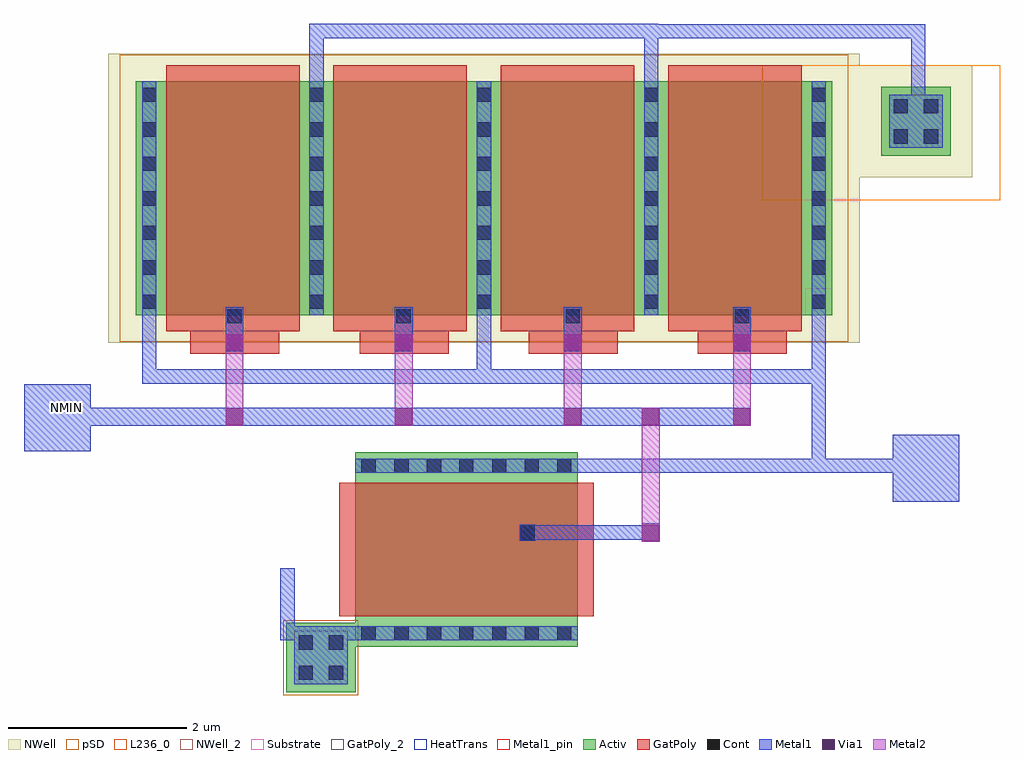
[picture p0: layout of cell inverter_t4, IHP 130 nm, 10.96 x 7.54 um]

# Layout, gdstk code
from math import pi, radians
import gdstk
lib = gdstk.Library(unit=1e-6, precision=1e-09)
def R(c, l, rs):  # rectangles x0, y0, x1, y1
    for r in rs: c.add(gdstk.rectangle(r[:2], r[2:], *l))
def A(c, l, x, y, w, h, nx, ny, dx, dy):  # array of equal rectangles
    R(c, l, [(x+i*dx, y+j*dy, x+i*dx+w, y+j*dy+h) for i in range(nx) for j in range(ny)])
Activ = (1, 0)
GatPoly = (5, 0)
GatPoly_2 = (5, 2)
Cont = (6, 0)
Metal1 = (8, 0)
Metal1_pin = (8, 2)
Metal2 = (10, 0)
pSD = (14, 0)
Via1 = (19, 0)
NWell = (31, 0)
NWell_2 = (31, 2)
Substrate = (40, 0)
HeatTrans = (51, 0)
L236_0 = (236, 0)

pmos_6 = lib.new_cell('pmos$6')
A(pmos_6, Activ, 0, 0, 0.3, 0.3, 5, 1, 1.88, 0)
R(pmos_6, Activ, [(0,0,7.82,2.625)])
A(pmos_6, GatPoly, 0.34, -0.18, 1.5, 2.985, 4, 1, 1.88, 0)
R(pmos_6, GatPoly, [(0.34,-0.18,1.84,2.805), (0.34,-0.18,1.84,2.805)])
A(pmos_6, Cont, 0.07, 0.07, 0.16, 0.16, 5, 2, 1.88, 0.385)
A(pmos_6, Cont, 0.07, 0.845, 0.16, 0.16, 5, 2, 1.88, 0.385)
A(pmos_6, Cont, 0.07, 1.62, 0.16, 0.16, 5, 2, 1.88, 0.385)
A(pmos_6, Cont, 0.07, 2.395, 0.16, 0.16, 5, 1, 1.88, 0)
A(pmos_6, Metal1, 1.95, 0, 0.16, 2.625, 4, 1, 1.88, 0)
R(pmos_6, Metal1, [(0.07,0,0.23,2.625), (0.07,0,0.23,2.625), (0.07,0,0.23,2.625), (1.95,0,2.11,2.625), (1.95,0,2.11,2.625)])
R(pmos_6, pSD, [(-0.18,-0.3,8,2.925)])
R(pmos_6, NWell, [(-0.31,-0.31,8.13,2.935)])
R(pmos_6, Substrate, [(7.52,0,7.82,0.3), (7.52,0,7.82,0.3)])
A(pmos_6, HeatTrans, 0.34, -0.18, 1.5, 2.985, 4, 1, 1.88, 0)
pmos_6.add(gdstk.Label('pmos', (1.09,1.313), layer=63, texttype=0))
pmos_6.add(gdstk.Label('pmos', (1.09,1.313), layer=51, texttype=0))
pmos_6.add(gdstk.Label('pmos', (2.97,1.313), layer=51, texttype=0))
pmos_6.add(gdstk.Label('pmos', (4.85,1.313), layer=51, texttype=0))
pmos_6.add(gdstk.Label('pmos', (6.73,1.313), layer=51, texttype=0))

nmos_3 = lib.new_cell('nmos$3')
R(nmos_3, Activ, [(0,0,2.18,2.5), (0,0,0.3,0.3), (1.88,0,2.18,0.3)])
R(nmos_3, GatPoly, [(0.34,-0.18,1.84,2.68)])
R(nmos_3, GatPoly_2, [(0.34,-0.18,1.84,2.68), (0.34,-0.18,1.84,2.68)])
A(nmos_3, Cont, 0.07, 0.07, 0.16, 0.16, 1, 3, 0, 0.365)
A(nmos_3, Cont, 1.95, 0.07, 0.16, 0.16, 1, 3, 0, 0.365)
A(nmos_3, Cont, 0.07, 1.17, 0.16, 0.16, 1, 3, 0, 0.365)
A(nmos_3, Cont, 1.95, 1.17, 0.16, 0.16, 1, 3, 0, 0.365)
R(nmos_3, Cont, [(0.07,2.27,0.23,2.43), (1.95,2.27,2.11,2.43)])
R(nmos_3, Metal1, [(0.07,0,0.23,2.5), (1.95,0,2.11,2.5)])
R(nmos_3, Metal1_pin, [(0.07,0,0.23,2.5), (0.07,0,0.23,2.5), (1.95,0,2.11,2.5), (1.95,0,2.11,2.5)])
R(nmos_3, HeatTrans, [(0.34,-0.18,1.84,2.68)])
nmos_3.add(gdstk.Label('nmos', (1.09,1.25), layer=51, texttype=0))

ptap_1 = lib.new_cell('ptap$1')
R(ptap_1, Activ, [(0,0,0.78,0.78)])
R(ptap_1, Cont, [(0.14,0.14,0.3,0.3), (0.48,0.14,0.64,0.3), (0.14,0.48,0.3,0.64), (0.48,0.48,0.64,0.64)])
R(ptap_1, Metal1, [(0.09,0.09,0.69,0.69)])
R(ptap_1, Metal1_pin, [(0.09,0.09,0.69,0.69)])
R(ptap_1, pSD, [(-0.03,-0.03,0.81,0.81)])

ntap_1 = lib.new_cell('ntap$1')
R(ntap_1, Activ, [(0,0,0.78,0.78)])
R(ntap_1, Cont, [(0.14,0.14,0.3,0.3), (0.48,0.14,0.64,0.3), (0.14,0.48,0.3,0.64), (0.48,0.48,0.64,0.64)])
R(ntap_1, Metal1, [(0.09,0.09,0.69,0.69)])
R(ntap_1, Metal1_pin, [(0.09,0.09,0.69,0.69)])
R(ntap_1, NWell, [(-0.24,-0.24,1.02,1.02)])
R(ntap_1, NWell_2, [(0,0,0.78,0.78)])
R(ntap_1, L236_0, [(-1.334,-0.5,1.334,1.02)])
ntap_1.add(gdstk.Label('well', (0,0), layer=63, texttype=0))
ntap_1.add(gdstk.Label('[@instanceName]', (0,0.26), layer=236, texttype=1))

inverter_t4 = lib.new_cell('inverter_t4')
A(inverter_t4, GatPoly, 0.13, 0.26, 1, 1, 4, 1, 1.9, 0)
A(inverter_t4, Cont, 0.545, 0.6, 0.16, 0.16, 4, 1, 1.9, 0)
R(inverter_t4, Cont, [(3.84,-1.83,4,-1.67)])
A(inverter_t4, Metal1, 0.525, 0.28, 0.2, 0.5, 4, 1, 1.9, 0)
R(inverter_t4, Metal1, [(5.2,-1.855,5.4,-1.645), (3.83,-1.84,4.01,-1.66), (8.017,-1.404,8.767,-0.654), (-1.739,-0.836,-0.989,-0.086)])
A(inverter_t4, Via1, 0.53, -0.545, 0.19, 0.19, 3, 1, 1.9, 0)
A(inverter_t4, Via1, 0.53, 0.29, 0.19, 0.19, 4, 1, 1.9, 0)
R(inverter_t4, Via1, [(5.205,-1.85,5.395,-1.66), (5.205,-0.545,5.395,-0.355), (6.23,-0.545,6.42,-0.355)])
R(inverter_t4, NWell, [(7.17,2.32,8.425,3.5)])
inverter_t4.add(gdstk.FlexPath([(4.28,-1),(7.26,-1)], 0.16, ends="flush", simple_path=True, layer=8, datatype=0))  # Metal1
inverter_t4.add(gdstk.FlexPath([(5.78,-1),(8.76,-1)], 0.16, ends="flush", simple_path=True, layer=8, datatype=0))  # Metal1
inverter_t4.add(gdstk.FlexPath([(1.547,3.883),(5.307,3.883)], 0.16, ends="flush", simple_path=True, layer=8, datatype=0))  # Metal1
inverter_t4.add(gdstk.FlexPath([(1.22,-2.88),(2.22,-2.88)], 0.16, ends="flush", simple_path=True, layer=8, datatype=0))  # Metal1
inverter_t4.add(gdstk.FlexPath([(-0.33,0.003),(7.188,0.003)], 0.16, ends="flush", simple_path=True, layer=8, datatype=0))  # Metal1
inverter_t4.add(gdstk.FlexPath([(5.225,3.88),(8.305,3.88),(8.305,2.88)], 0.16, ends="flush", simple_path=True, layer=8, datatype=0))  # Metal1
inverter_t4.add(gdstk.FlexPath([(-0.333,0.923),(-0.333,-0.077)], 0.16, ends="flush", simple_path=True, layer=8, datatype=0))  # Metal1
inverter_t4.add(gdstk.FlexPath([(3.427,0.923),(3.427,-0.077)], 0.16, ends="flush", simple_path=True, layer=8, datatype=0))  # Metal1
inverter_t4.add(gdstk.FlexPath([(1.547,3.963),(1.547,2.963)], 0.16, ends="flush", simple_path=True, layer=8, datatype=0))  # Metal1
inverter_t4.add(gdstk.FlexPath([(5.307,3.963),(5.307,2.963)], 0.16, ends="flush", simple_path=True, layer=8, datatype=0))  # Metal1
inverter_t4.add(gdstk.FlexPath([(6.425,-0.45),(-1.515,-0.45)], 0.2, ends="flush", simple_path=True, layer=8, datatype=0))  # Metal1
inverter_t4.add(gdstk.FlexPath([(7.187,0.925),(7.187,-1)], 0.16, ends="flush", simple_path=True, layer=8, datatype=0))  # Metal1
inverter_t4.add(gdstk.FlexPath([(5.4,-1.75),(3.845,-1.75)], 0.16, ends="flush", simple_path=True, layer=8, datatype=0))  # Metal1
inverter_t4.add(gdstk.FlexPath([(1.22,-2.96),(1.22,-2.15)], 0.16, ends="flush", simple_path=True, layer=8, datatype=0))  # Metal1
inverter_t4.add(gdstk.FlexPath([(0.625,0.48),(0.625,-0.55)], 0.2, ends="flush", simple_path=True, layer=10, datatype=0))  # Metal2
inverter_t4.add(gdstk.FlexPath([(2.525,0.48),(2.525,-0.55)], 0.2, ends="flush", simple_path=True, layer=10, datatype=0))  # Metal2
inverter_t4.add(gdstk.FlexPath([(4.425,0.48),(4.425,-0.55)], 0.2, ends="flush", simple_path=True, layer=10, datatype=0))  # Metal2
inverter_t4.add(gdstk.FlexPath([(6.325,0.48),(6.325,-0.55)], 0.2, ends="flush", simple_path=True, layer=10, datatype=0))  # Metal2
inverter_t4.add(gdstk.FlexPath([(5.3,-0.35),(5.3,-1.855)], 0.2, ends="flush", simple_path=True, layer=10, datatype=0))  # Metal2
inverter_t4.add(gdstk.Reference(pmos_6, (-0.483,0.693)))
inverter_t4.add(gdstk.Reference(nmos_3, (4.48,-3.03), rotation=pi/2))
inverter_t4.add(gdstk.Reference(ptap_1, (1.205,-3.545)))
inverter_t4.add(gdstk.Reference(ntap_1, (7.89,2.48)))
inverter_t4.add(gdstk.Label('NMIN', (-1.26,-0.35), layer=8, texttype=25))

lib.write_gds('inverter_t4.gds')
